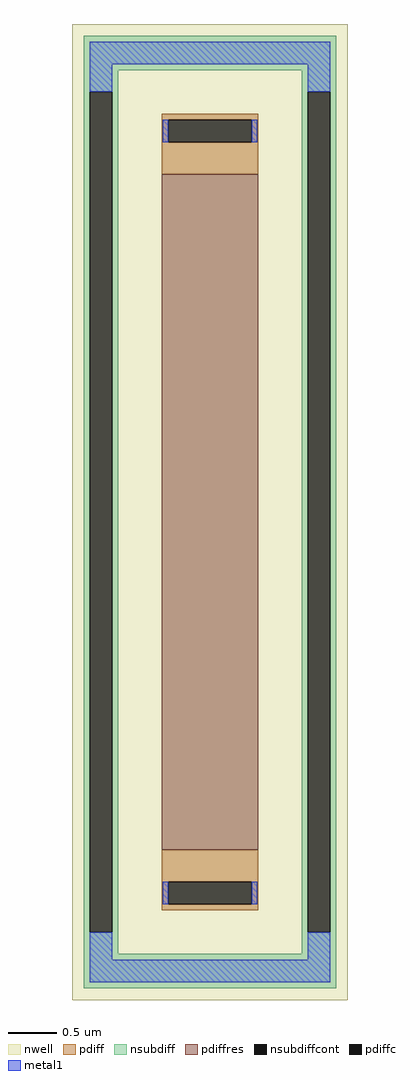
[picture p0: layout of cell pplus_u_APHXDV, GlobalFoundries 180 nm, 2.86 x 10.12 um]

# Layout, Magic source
magic
tech gf180mcuD
magscale 1 10
<< nwell >>
rect -286 -1012 286 1012
<< pdiff >>
rect -100 813 100 826
rect -100 767 -87 813
rect 87 767 100 813
rect -100 700 100 767
rect -100 -767 100 -700
rect -100 -813 -87 -767
rect 87 -813 100 -767
rect -100 -826 100 -813
<< pdiffc >>
rect -87 767 87 813
rect -87 -813 87 -767
<< nsubdiff >>
rect -262 916 262 988
rect -262 872 -190 916
rect -262 -872 -249 872
rect -203 -872 -190 872
rect 190 872 262 916
rect -262 -916 -190 -872
rect 190 -872 203 872
rect 249 -872 262 872
rect 190 -916 262 -872
rect -262 -988 262 -916
<< nsubdiffcont >>
rect -249 -872 -203 872
rect 203 -872 249 872
<< pdiffres >>
rect -100 -700 100 700
<< metal1 >>
rect -249 929 249 975
rect -249 872 -203 929
rect 203 872 249 929
rect -98 767 -87 813
rect 87 767 98 813
rect -98 -813 -87 -767
rect 87 -813 98 -767
rect -249 -929 -203 -872
rect 203 -929 249 -872
rect -249 -975 249 -929
<< properties >>
string FIXED_BBOX -226 -952 226 952
string gencell pplus_u
string library gf180mcu
string parameters w 1.0 l 7.0 m 1 nx 1 wmin 1.00 lmin 1.00 class resistor rho 128 val 914.285 dummy 0 dw 0.02 term 0.0 sterm 0.0 caplen 0.60 snake 0 glc 1 grc 1 gtc 0 gbc 0 roverlap 0 endcov 100 full_metal 1
<< end >>
